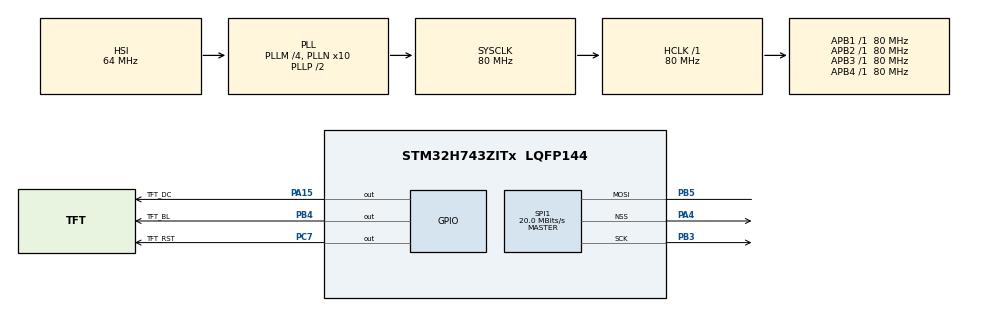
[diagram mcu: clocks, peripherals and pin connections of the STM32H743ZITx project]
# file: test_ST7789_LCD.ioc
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CORTEX_M7.default_mode_Activation=1
Dma.Request0=SPI1_TX
Dma.SPI1_TX.0.Direction=DMA_MEMORY_TO_PERIPH
Dma.SPI1_TX.0.EventEnable=DISABLE
Dma.SPI1_TX.0.FIFOMode=DMA_FIFOMODE_DISABLE
Dma.SPI1_TX.0.Instance=DMA1_Stream0
Dma.SPI1_TX.0.MemDataAlignment=DMA_MDATAALIGN_BYTE
Dma.SPI1_TX.0.MemInc=DMA_MINC_ENABLE
Dma.SPI1_TX.0.Mode=DMA_NORMAL
Dma.SPI1_TX.0.PeriphDataAlignment=DMA_PDATAALIGN_BYTE
Dma.SPI1_TX.0.PeriphInc=DMA_PINC_DISABLE
Dma.SPI1_TX.0.Polarity=HAL_DMAMUX_REQ_GEN_RISING
Dma.SPI1_TX.0.Priority=DMA_PRIORITY_LOW
Dma.SPI1_TX.0.RequestNumber=1
Dma.SPI1_TX.0.SignalID=NONE
Dma.SPI1_TX.0.SyncEnable=DISABLE
Dma.SPI1_TX.0.SyncPolarity=HAL_DMAMUX_SYNC_NO_EVENT
Dma.SPI1_TX.0.SyncRequestNumber=1
Dma.SPI1_TX.0.SyncSignalID=NONE
Mcu.Family=STM32H7
Mcu.Name=STM32H743ZITx
Mcu.Package=LQFP144
NUCLEO-H743ZI2.BUTTON=1
NUCLEO-H743ZI2.Bsp_Common_DEMO=true
NUCLEO-H743ZI2.LD1=true
NUCLEO-H743ZI2.LD2=true
NUCLEO-H743ZI2.LD3=true
NUCLEO-H743ZI2.VCP=true
NVIC.DMA1_Stream0_IRQn=true\:0\:0\:false\:false\:true\:false\:true\:true
NVIC.EXTI15_10_IRQn=true\:0\:0\:false\:false\:true\:false\:true\:true
NVIC.PriorityGroup=NVIC_PRIORITYGROUP_4
NVIC.SPI1_IRQn=true\:0\:0\:false\:false\:true\:false\:true\:true
PA13\ (JTMS/SWDIO).GPIO_Label=JTMS
PA13\ (JTMS/SWDIO).Signal=DEBUG_JTMS-SWDIO
PA14\ (JTCK/SWCLK).GPIO_Label=JTCK
PA14\ (JTCK/SWCLK).Signal=DEBUG_JTCK-SWCLK
PA15\ (JTDI).GPIO_Label=TFT_DC
PA15\ (JTDI).Signal=GPIO_Output
PA4.Mode=NSS_Signal_Hard_Output
PA4.Signal=SPI1_NSS
PB3\ (JTDO/TRACESWO).Mode=Simplex_Bidirectional_Master
PB3\ (JTDO/TRACESWO).Signal=SPI1_SCK
PB4\ (NJTRST).GPIO_Label=TFT_BL
PB4\ (NJTRST).Signal=GPIO_Output
PB5.Mode=Simplex_Bidirectional_Master
PB5.Signal=SPI1_MOSI
PC14-OSC32_IN\ (OSC32_IN).Signal=RCC_OSC32_IN
PC15-OSC32_OUT\ (OSC32_OUT).Signal=RCC_OSC32_OUT
PC7.GPIO_Label=TFT_RST
PC7.Signal=GPIO_Output
PD8.Signal=USART3_TX
PD9.Signal=USART3_RX
PH0-OSC_IN\ (PH0).Signal=RCC_OSC_IN
PH1-OSC_OUT\ (PH1).Signal=RCC_OSC_OUT
ProjectManager.HeapSize=0x200
ProjectManager.StackSize=0x400
ProjectManager.TargetToolchain=STM32CubeIDE
RCC.ADCFreq_Value=129000000
RCC.APB1Freq_Value=80000000
RCC.APB2Freq_Value=80000000
RCC.APB3Freq_Value=80000000
RCC.APB4Freq_Value=80000000
RCC.CortexFreq_Value=80000000
RCC.DIVM1=4
RCC.DIVN1=10
RCC.DIVQ1=4
RCC.HCLKFreq_Value=80000000
RCC.PLL2FRACN=0
RCC.PLL3FRACN=0
RCC.PLLFRACN=0
RCC.SYSCLKFreq_VALUE=80000000
RCC.SYSCLKSource=RCC_SYSCLKSOURCE_PLLCLK
RCC.USBFreq_Value=40000000
SPI1.BaudRatePrescaler=SPI_BAUDRATEPRESCALER_2
SPI1.CLKPolarity=SPI_POLARITY_HIGH
SPI1.CalculateBaudRate=20.0 MBits/s
SPI1.DataSize=SPI_DATASIZE_8BIT
SPI1.Direction=SPI_DIRECTION_1LINE
SPI1.Mode=SPI_MODE_MASTER
SPI1.VirtualNSS=VM_NSSHARD
SPI1.VirtualType=VM_MASTER
VP_MEMORYMAP_VS_MEMORYMAP.Mode=CurAppReg
VP_NUCLEO-H743ZI2_VS_BSP_COMMON.Mode=COMMON
board=NUCLEO-H743ZI2

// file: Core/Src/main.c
/* USER CODE BEGIN Header */
/**
  ******************************************************************************
  * @file           : main.c
  * @brief          : Main program body
  ******************************************************************************
  * @attention
  *
  * Copyright (c) 2026 STMicroelectronics.
  * All rights reserved.
  *
  * This software is licensed under terms that can be found in the LICENSE file
  * in the root directory of this software component.
  * If no LICENSE file comes with this software, it is provided AS-IS.
  *
  ******************************************************************************
  */
/* USER CODE END Header */
#include "main.h"

/* USER CODE BEGIN Includes */
#include "st7789.h"
#include "fonts.h"
/* USER CODE END Includes */

COM_InitTypeDef BspCOMInit;
__IO uint32_t BspButtonState = BUTTON_RELEASED;

SPI_HandleTypeDef hspi1;
DMA_HandleTypeDef hdma_spi1_tx;

void SystemClock_Config(void);
static void MPU_Config(void);
static void MX_GPIO_Init(void);
static void MX_DMA_Init(void);
static void MX_SPI1_Init(void);

int main(void)
{

  /* MPU Configuration--------------------------------------------------------*/
  MPU_Config();

  /* MCU Configuration--------------------------------------------------------*/

  /* Reset of all peripherals, Initializes the Flash interface and the Systick. */
  HAL_Init();

  /* Configure the system clock */
  SystemClock_Config();

  /* Initialize all configured peripherals */
  MX_GPIO_Init();
  MX_DMA_Init();
  MX_SPI1_Init();
  /* USER CODE BEGIN 2 */
  printf("\n\n\n--------------\nStarting ST7789 Demo\n");

  printf("Initializing display\n");

  HAL_GPIO_WritePin(TFT_BL_GPIO_Port, TFT_BL_Pin, GPIO_PIN_SET);

  ST7789_Init();

  HAL_Delay(50);

  ST7789_Fill_Color(BLUE);

  ST7789_Test();

  /* USER CODE END 2 */

  /* Initialize leds */
  BSP_LED_Init(LED_GREEN);
  BSP_LED_Init(LED_YELLOW);
  BSP_LED_Init(LED_RED);

  /* Initialize USER push-button, will be used to trigger an interrupt each time it's pressed.*/
  BSP_PB_Init(BUTTON_USER, BUTTON_MODE_EXTI);

  /* Initialize COM1 port (115200, 8 bits (7-bit data + 1 stop bit), no parity */
  BspCOMInit.BaudRate   = 115200;
  BspCOMInit.WordLength = COM_WORDLENGTH_8B;
  BspCOMInit.StopBits   = COM_STOPBITS_1;
  BspCOMInit.Parity     = COM_PARITY_NONE;
  BspCOMInit.HwFlowCtl  = COM_HWCONTROL_NONE;
  if (BSP_COM_Init(COM1, &BspCOMInit) != BSP_ERROR_NONE)
  {
    Error_Handler();
  }

  /* USER CODE BEGIN BSP */

  /* -- Sample board code to send message over COM1 port ---- */
  printf("Welcome to STM32 world !\n\r");

  /* -- Sample board code to switch on leds ---- */
  BSP_LED_On(LED_GREEN);
  BSP_LED_On(LED_YELLOW);
  BSP_LED_On(LED_RED);

  /* USER CODE END BSP */

  /* Infinite loop */
  /* USER CODE BEGIN WHILE */
  while (1)
  {

    /* -- Sample board code for User push-button in interrupt mode ---- */
    if (BspButtonState == BUTTON_PRESSED)
    {
      /* Update button state */
      BspButtonState = BUTTON_RELEASED;
      /* -- Sample board code to toggle leds ---- */
      BSP_LED_Toggle(LED_GREEN);
      BSP_LED_Toggle(LED_YELLOW);
      BSP_LED_Toggle(LED_RED);

      /* ..... Perform your action ..... */
    }
    /* USER CODE END WHILE */

  }
}

void SystemClock_Config(void)
{
  RCC_OscInitTypeDef RCC_OscInitStruct = {0};
  RCC_ClkInitTypeDef RCC_ClkInitStruct = {0};

  /** Supply configuration update enable
  */
  HAL_PWREx_ConfigSupply(PWR_LDO_SUPPLY);

  /** Configure the main internal regulator output voltage
  */
  __HAL_PWR_VOLTAGESCALING_CONFIG(PWR_REGULATOR_VOLTAGE_SCALE3);

  while(!__HAL_PWR_GET_FLAG(PWR_FLAG_VOSRDY)) {}

  /** Initializes the RCC Oscillators according to the specified parameters
  * in the RCC_OscInitTypeDef structure.
  */
  RCC_OscInitStruct.OscillatorType = RCC_OSCILLATORTYPE_HSI;
  RCC_OscInitStruct.HSIState = RCC_HSI_DIV1;
  RCC_OscInitStruct.HSICalibrationValue = RCC_HSICALIBRATION_DEFAULT;
  RCC_OscInitStruct.PLL.PLLState = RCC_PLL_ON;
  RCC_OscInitStruct.PLL.PLLSource = RCC_PLLSOURCE_HSI;
  RCC_OscInitStruct.PLL.PLLM = 4;
  RCC_OscInitStruct.PLL.PLLN = 10;
  RCC_OscInitStruct.PLL.PLLP = 2;
  RCC_OscInitStruct.PLL.PLLQ = 4;
  RCC_OscInitStruct.PLL.PLLR = 2;
  RCC_OscInitStruct.PLL.PLLRGE = RCC_PLL1VCIRANGE_3;
  RCC_OscInitStruct.PLL.PLLVCOSEL = RCC_PLL1VCOMEDIUM;
  RCC_OscInitStruct.PLL.PLLFRACN = 0;
  if (HAL_RCC_OscConfig(&RCC_OscInitStruct) != HAL_OK)
  {
    Error_Handler();
  }

  /** Initializes the CPU, AHB and APB buses clocks
  */
  RCC_ClkInitStruct.ClockType = RCC_CLOCKTYPE_HCLK|RCC_CLOCKTYPE_SYSCLK
                              |RCC_CLOCKTYPE_PCLK1|RCC_CLOCKTYPE_PCLK2
                              |RCC_CLOCKTYPE_D3PCLK1|RCC_CLOCKTYPE_D1PCLK1;
  RCC_ClkInitStruct.SYSCLKSource = RCC_SYSCLKSOURCE_PLLCLK;
  RCC_ClkInitStruct.SYSCLKDivider = RCC_SYSCLK_DIV1;
  RCC_ClkInitStruct.AHBCLKDivider = RCC_HCLK_DIV1;
  RCC_ClkInitStruct.APB3CLKDivider = RCC_APB3_DIV1;
  RCC_ClkInitStruct.APB1CLKDivider = RCC_APB1_DIV1;
  RCC_ClkInitStruct.APB2CLKDivider = RCC_APB2_DIV1;
  RCC_ClkInitStruct.APB4CLKDivider = RCC_APB4_DIV1;

  if (HAL_RCC_ClockConfig(&RCC_ClkInitStruct, FLASH_LATENCY_1) != HAL_OK)
  {
    Error_Handler();
  }
}

static void MX_SPI1_Init(void)
{

  /* SPI1 parameter configuration*/
  hspi1.Instance = SPI1;
  hspi1.Init.Mode = SPI_MODE_MASTER;
  hspi1.Init.Direction = SPI_DIRECTION_1LINE;
  hspi1.Init.DataSize = SPI_DATASIZE_8BIT;
  hspi1.Init.CLKPolarity = SPI_POLARITY_HIGH;
  hspi1.Init.CLKPhase = SPI_PHASE_1EDGE;
  hspi1.Init.NSS = SPI_NSS_HARD_OUTPUT;
  hspi1.Init.BaudRatePrescaler = SPI_BAUDRATEPRESCALER_2;
  hspi1.Init.FirstBit = SPI_FIRSTBIT_MSB;
  hspi1.Init.TIMode = SPI_TIMODE_DISABLE;
  hspi1.Init.CRCCalculation = SPI_CRCCALCULATION_DISABLE;
  hspi1.Init.CRCPolynomial = 0x0;
  hspi1.Init.NSSPMode = SPI_NSS_PULSE_ENABLE;
  hspi1.Init.NSSPolarity = SPI_NSS_POLARITY_LOW;
  hspi1.Init.FifoThreshold = SPI_FIFO_THRESHOLD_01DATA;
  hspi1.Init.TxCRCInitializationPattern = SPI_CRC_INITIALIZATION_ALL_ZERO_PATTERN;
  hspi1.Init.RxCRCInitializationPattern = SPI_CRC_INITIALIZATION_ALL_ZERO_PATTERN;
  hspi1.Init.MasterSSIdleness = SPI_MASTER_SS_IDLENESS_00CYCLE;
  hspi1.Init.MasterInterDataIdleness = SPI_MASTER_INTERDATA_IDLENESS_00CYCLE;
  hspi1.Init.MasterReceiverAutoSusp = SPI_MASTER_RX_AUTOSUSP_DISABLE;
  hspi1.Init.MasterKeepIOState = SPI_MASTER_KEEP_IO_STATE_DISABLE;
  hspi1.Init.IOSwap = SPI_IO_SWAP_DISABLE;
  if (HAL_SPI_Init(&hspi1) != HAL_OK)
  {
    Error_Handler();
  }

}

static void MX_DMA_Init(void)
{

  /* DMA controller clock enable */
  __HAL_RCC_DMA1_CLK_ENABLE();

  /* DMA interrupt init */
  /* DMA1_Stream0_IRQn interrupt configuration */
  HAL_NVIC_SetPriority(DMA1_Stream0_IRQn, 0, 0);
  HAL_NVIC_EnableIRQ(DMA1_Stream0_IRQn);

}

static void MX_GPIO_Init(void)
{
  GPIO_InitTypeDef GPIO_InitStruct = {0};

  /* GPIO Ports Clock Enable */
  __HAL_RCC_GPIOC_CLK_ENABLE();
  __HAL_RCC_GPIOH_CLK_ENABLE();
  __HAL_RCC_GPIOA_CLK_ENABLE();
  __HAL_RCC_GPIOB_CLK_ENABLE();

  /*Configure GPIO pin Output Level */
  HAL_GPIO_WritePin(TFT_RST_GPIO_Port, TFT_RST_Pin, GPIO_PIN_RESET);

  /*Configure GPIO pin Output Level */
  HAL_GPIO_WritePin(TFT_DC_GPIO_Port, TFT_DC_Pin, GPIO_PIN_RESET);

  /*Configure GPIO pin Output Level */
  HAL_GPIO_WritePin(TFT_BL_GPIO_Port, TFT_BL_Pin, GPIO_PIN_RESET);

  /*Configure GPIO pin : TFT_RST_Pin */
  GPIO_InitStruct.Pin = TFT_RST_Pin;
  GPIO_InitStruct.Mode = GPIO_MODE_OUTPUT_PP;
  GPIO_InitStruct.Pull = GPIO_NOPULL;
  GPIO_InitStruct.Speed = GPIO_SPEED_FREQ_LOW;
  HAL_GPIO_Init(TFT_RST_GPIO_Port, &GPIO_InitStruct);

  /*Configure GPIO pin : TFT_DC_Pin */
  GPIO_InitStruct.Pin = TFT_DC_Pin;
  GPIO_InitStruct.Mode = GPIO_MODE_OUTPUT_PP;
  GPIO_InitStruct.Pull = GPIO_NOPULL;
  GPIO_InitStruct.Speed = GPIO_SPEED_FREQ_LOW;
  HAL_GPIO_Init(TFT_DC_GPIO_Port, &GPIO_InitStruct);

  /*Configure GPIO pin : TFT_BL_Pin */
  GPIO_InitStruct.Pin = TFT_BL_Pin;
  GPIO_InitStruct.Mode = GPIO_MODE_OUTPUT_PP;
  GPIO_InitStruct.Pull = GPIO_NOPULL;
  GPIO_InitStruct.Speed = GPIO_SPEED_FREQ_LOW;
  HAL_GPIO_Init(TFT_BL_GPIO_Port, &GPIO_InitStruct);

}

 /* MPU Configuration */

void MPU_Config(void)
{
  MPU_Region_InitTypeDef MPU_InitStruct = {0};

  /* Disables the MPU */
  HAL_MPU_Disable();

  /** Initializes and configures the Region and the memory to be protected
  */
  MPU_InitStruct.Enable = MPU_REGION_ENABLE;
  MPU_InitStruct.Number = MPU_REGION_NUMBER0;
  MPU_InitStruct.BaseAddress = 0x0;
  MPU_InitStruct.Size = MPU_REGION_SIZE_4GB;
  MPU_InitStruct.SubRegionDisable = 0x87;
  MPU_InitStruct.TypeExtField = MPU_TEX_LEVEL0;
  MPU_InitStruct.AccessPermission = MPU_REGION_NO_ACCESS;
  MPU_InitStruct.DisableExec = MPU_INSTRUCTION_ACCESS_DISABLE;
  MPU_InitStruct.IsShareable = MPU_ACCESS_SHAREABLE;
  MPU_InitStruct.IsCacheable = MPU_ACCESS_NOT_CACHEABLE;
  MPU_InitStruct.IsBufferable = MPU_ACCESS_NOT_BUFFERABLE;

  HAL_MPU_ConfigRegion(&MPU_InitStruct);
  /* Enables the MPU */
  HAL_MPU_Enable(MPU_PRIVILEGED_DEFAULT);

}

/**
  * @brief BSP Push Button callback
  * @param Button Specifies the pressed button
  * @retval None
  */
void BSP_PB_Callback(Button_TypeDef Button)
{
  if (Button == BUTTON_USER)
  {
    BspButtonState = BUTTON_PRESSED;
  }
}

void Error_Handler(void)
{
  __disable_irq();
  while (1)
  {
  }
}
